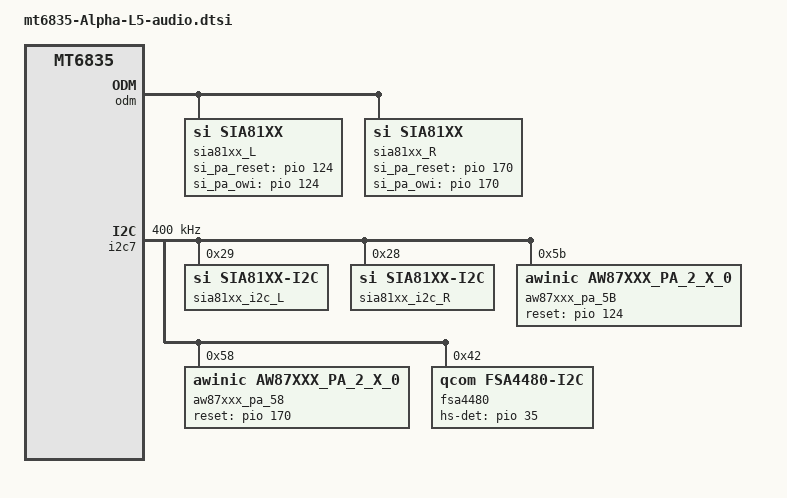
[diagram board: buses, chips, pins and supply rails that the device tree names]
/* Copyright (c) 2018, The Linux Foundation. All rights reserved.
 *
 * This program is free software; you can redistribute it and/or modify
 * it under the terms of the GNU General Public License version 2 and
 * only version 2 as published by the Free Software Foundation.
 *
 * This program is distributed in the hope that it will be useful,
 * but WITHOUT ANY WARRANTY; without even the implied warranty of
 * MERCHANTABILITY or FITNESS FOR A PARTICULAR PURPOSE.  See the
 * GNU General Public License for more details.
 */

&pio {
	sia81xx_gpio_L: sia81xx_gpio_L {
		pins_cmd_dat {
			pinmux = <PINMUX_GPIO124__FUNC_GPIO124>;
			slew-rate = <1>;
			bias-disable;
		};
	};
	sia81xx_gpio_R: sia81xx_gpio_R {
		pins_cmd_dat {
			pinmux = <PINMUX_GPIO170__FUNC_GPIO170>;
			slew-rate = <1>;
			bias-disable;
		};
	};

	fsa_hs_det: fsa_hs_det {
		pins_cmd_dat {
			pinmux = <PINMUX_GPIO35__FUNC_GPIO35>;
			slew-rate = <1>;  /*direction 0:in, 1:out*/
			output-high;
		};
	};
};

&odm {
	sia81xx_L: sia81xx@L{
		compatible = "si,sia81xx";
		si,si_pa_type = "sia81x9";
		si,si_pa_reset = <&pio 124 0>;
		si,si_pa_owi = <&pio 124 0>;
		pinctrl-names = "si_pa_gpio";
		pinctrl-0 = <&sia81xx_gpio_L>;
		si,si_pa_disable_pin = <0>;
		channel_num = <0>;
		owi_mode = <1>;
	};
	sia81xx_R: sia81xx@R{
		compatible = "si,sia81xx";
		si,si_pa_type = "sia81x9";
		si,si_pa_reset = <&pio 170 0>;
		si,si_pa_owi = <&pio 170 0>;
		pinctrl-names = "si_pa_gpio";
		pinctrl-0 = <&sia81xx_gpio_R>;
		si,si_pa_disable_pin = <0>;
		channel_num = <1>;
		owi_mode = <1>;
	};
};

&i2c7 {
	#address-cells = <1>;
	#size-cells = <0>;
	clock-frequency = <400000>;

	sia81xx_i2c_L: sia81xx_i2c@L {
		compatible = "si,sia81xx-i2c";
		reg = <0x29>;
		si,sipa-dev = <&sia81xx_L>;
	};
	sia81xx_i2c_R: sia81xx_i2c@R {
		compatible = "si,sia81xx-i2c";
		reg = <0x28>;
		si,sipa-dev = <&sia81xx_R>;
	};

/* AWINIC AW87XXX PA */
	aw87xxx_pa_5B@5B {
		compatible = "awinic,aw87xxx_pa_2_x_0";
		reg = <0x5B>;
		reset-gpio = <&pio 124 0>;
		dev_index = < 0 >;
		status = "okay";
	};
	aw87xxx_pa_58@58 {
		compatible = "awinic,aw87xxx_pa_2_x_0";
		reg = <0x58>;
		reset-gpio = <&pio 170 0>;
		dev_index = < 1 >;
		status = "okay";
	};
/* AWINIC AW87XXX Smart K PA End */

	fsa4480: fsa4480@42 {
		compatible = "qcom,fsa4480-i2c";
		reg = <0x42>;
		pinctrl-names = "default";
		pinctrl-0 = <&fsa_hs_det>;
		fsa4480,hs-det-gpio = <&pio 35 0>;
		fsa4480,hp-bypass = <1>;
		status = "okay";
	};
};

&sound {
	si,sia81xx-max-num = <2>;
	si,sia81xx-aux-devs = <&sia81xx_L>, <&sia81xx_R>;
	si,sia81xx-aux-devs-prefix = "SpkrLeft", "SpkrRight";
	/* 2024/5/28, add for dual PA special dapm handle to resolve pop sound when PA closing */
	oplus,special-pa-dapm = <1>;
};

&accdet{
	// eint_use_ext_res = <1>;
	// headset-eint-trig-mode = <2>;
	headset-three-key-threshold = <0 82 170 306>;
	hp-eint0-disable = <1>;
};

&speech_usip_mem{
	adsp-phone-call-enh-enable = <0x5>;
};

&scp {
	reg =	<0 0x1c400000 0 0x100000>, /* tcm */
			<0 0x1c724000 0 0x1000>, /* cfg */
			<0 0x1c721000 0 0x1000>, /* clk*/
			<0 0x1c730000 0 0x1000>, /* cfg core0 */
			<0 0x1c740000 0 0x1000>, /* cfg core1 */
			<0 0x1c752000 0 0x1000>, /* bus tracker */
			<0 0x1c760000 0 0x40000>, /* llc */
			<0 0x1c7a5000 0 0x4>, /* cfg_sec */
			<0 0x1c7fb000 0 0x100>, /* mbox0 base */
			<0 0x1c7fb100 0 0x4>, /* mbox0 set */
			<0 0x1c7fb10c 0 0x4>, /* mbox0 clr */
			<0 0x1c7a5020 0 0x4>, /* mbox0 init */
			<0 0x1c7fc000 0 0x100>, /* mbox1 base */
			<0 0x1c7fc100 0 0x4>, /* mbox1 set */
			<0 0x1c7fc10c 0 0x4>, /* mbox1 clr */
			<0 0x1c7a5024 0 0x4>, /* mbox1 init */
			<0 0x1c7fd000 0 0x100>, /* mbox2 base */
			<0 0x1c7fd100 0 0x4>, /* mbox2 set */
			<0 0x1c7fd10c 0 0x4>, /* mbox2 clr */
			<0 0x1c7a5028 0 0x4>, /* mbox2 init */
			<0 0x1c7fe000 0 0x100>, /* mbox3 base */
			<0 0x1c7fe100 0 0x4>, /* mbox3 set */
			<0 0x1c7fe10c 0 0x4>, /* mbox3 clr */
			<0 0x1c7a502c 0 0x4>, /* mbox3 init */
			<0 0x1c7ff000 0 0x100>, /* mbox4 base */
			<0 0x1c7ff100 0 0x4>, /* mbox4 set */
			<0 0x1c7ff10c 0 0x4>, /* mbox4 clr */
			<0 0x1c7a5030 0 0x4>; /* mbox4 init */
	scp-sramsize = <0x100000>;
	secure-dump-size = <0x500000>;
	memorydump = <0x100000>, /* l2tcm */
				     <0x03c000>, /* l1c*/
				     <0x003c00>, /* regdump */
				     <0x000400>, /* trace buffer */
				     <0x300000>; /* dram */
};
